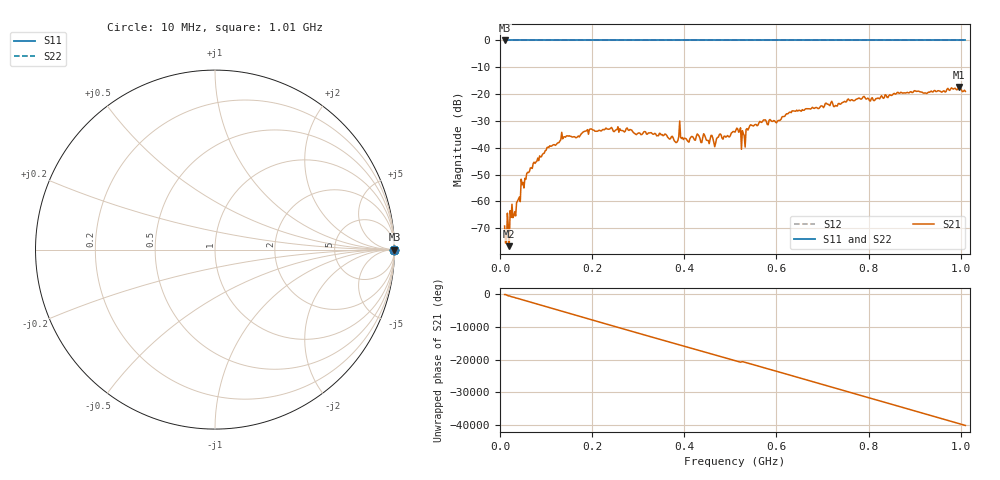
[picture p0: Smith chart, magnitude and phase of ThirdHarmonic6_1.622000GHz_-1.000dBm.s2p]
! 8/16/2025 7:22:37 PM
! C:\ANRITSUVNA\TEMP\TEMP.S2P
! CHANNEL.1
! TR.MEASUREMENT
! RAW.DATA
! RF.CORRECTION.OFF
! AVERAGING.OFF
! IF.BANDWIDTH: 5KHZ
! SWEEPTYPE:  FREQ.SWEEP(Linear)
! Reference Plane Port Info
! PORT:  PORT1  PORT2
! DISTANCE:  0  m  0  m
! TIME:  0  s  0  s
! PHASE.OFFSET:  0  deg.  0  deg.
! LOSS:  0  dB  0  dB
! REF.LOSS:  0  dB  0  dB
! REF.FREQ:  0  Hz  0  Hz
! Power Info
! POWER:  -20  dBm  -20  dBm
! EFF.POWER:  -20  dBm  -20  dBm
! SOURCE.ATTEN:  0  dB  0  dB
! TEST.ATTEN:  0  dB  0  dB
# GHZ S RI R 50.0
! FREQ.GHZ  S11RE  S11IM  S21RE  S21IM  S12RE  S12IM  S22RE  S22IM
!; PortSelection: Port_12
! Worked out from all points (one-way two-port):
!   501 points, 10 MHz to 1.01 GHz, reference 50 ohm
!   highest |S21| = -17.38 dB at 996 MHz (marker M1); lowest = -76.7 dB at 20 MHz (marker M2)
!   lowest |S11| = 0.0 dB at 10 MHz (marker M3)
!   |S11| at or under -10 dB: nowhere
!   |S22| runs from 0.0 to 0.0 dB; largest |S21 - S12| = 1.1
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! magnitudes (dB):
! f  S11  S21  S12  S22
! 10 MHz  0.0  -69.1  0.0  0.0
! 16 MHz  0.0  -64.4  0.0  0.0
! 20 MHz  0.0  -76.7  0.0  0.0
! 32 MHz  0.0  -63.8  0.0  0.0
! 50 MHz  0.0  -52.9  0.0  0.0
! 76 MHz  0.0  -45.8  0.0  0.0
! 136 MHz  0.0  -36.6  0.0  0.0
! 178 MHz  0.0  -34.5  0.0  0.0
! 240 MHz  0.0  -32.7  0.0  0.0
! 344 MHz  0.0  -35.5  0.0  0.0
! 382 MHz  0.0  -38.1  0.0  0.0
! 392 MHz  0.0  -36.1  0.0  0.0
! 406 MHz  0.0  -37.2  0.0  0.0
! 466 MHz  0.0  -39.6  0.0  0.0
! 510 MHz  0.0  -34.2  0.0  0.0
! 518 MHz  0.0  -34.2  0.0  0.0
! 528 MHz  0.0  -34.7  0.0  0.0
! 546 MHz  0.0  -31.6  0.0  0.0
! 678 MHz  0.0  -24.9  0.0  0.0
! 844 MHz  0.0  -20.6  0.0  0.0
! 996 MHz  0.0  -17.4  0.0  0.0
! 1.01 GHz  0.0  -19.0  0.0  0.0
